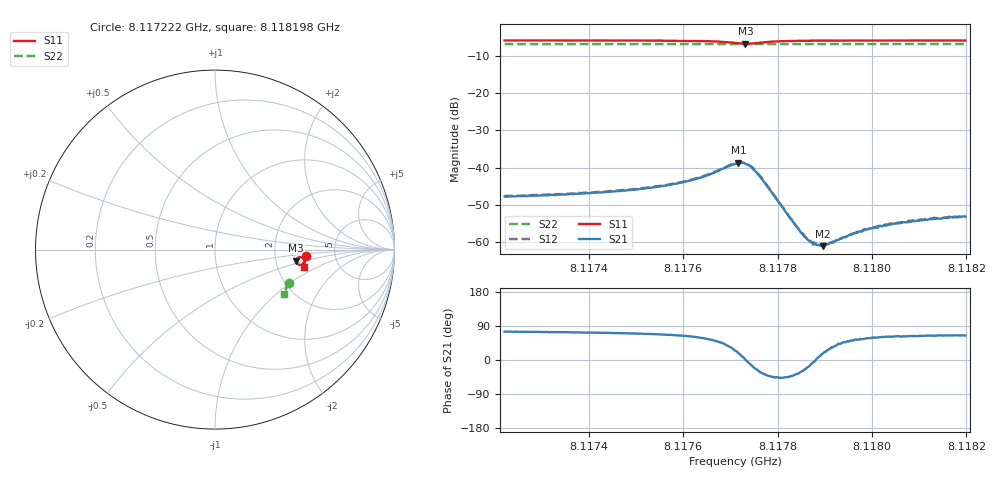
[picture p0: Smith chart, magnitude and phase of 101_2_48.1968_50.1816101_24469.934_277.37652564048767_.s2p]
#  HZ  S  RI  R  50.00
! Rohde & Schwarz Vector Network Analyzer
! Rohde-Schwarz,ZNB20-2Port,1311601062101988,3.16
! Created: UTC 3/20/2024, 11:40:36 AM
! freq[Hz]  re:S11  im:S11  re:S21  im:S21  re:S12  im:S12  re:S22  im:S22
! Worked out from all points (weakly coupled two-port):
!   401 points, 8.117222 GHz to 8.118198 GHz, reference 50 ohm
!   highest |S21| = -38.71 dB at 8.117717 GHz (marker M1); lowest = -61.1 dB at 8.117895 GHz (marker M2)
!   lowest |S11| = -6.8 dB at 8.117732 GHz (marker M3), VSWR 2.68, Z = 130 - j20.5 ohm
!   |S11| at or under -10 dB: nowhere
!   |S22| runs from -6.9 to -6.9 dB; largest |S21 - S12| = 0.00035
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8.117222e9  0.5046 -0.0344  0.00107 0.00394  0.00111 0.00403  0.4119 -0.1842
8.1173855e9  0.5029 -0.0486  0.00134 0.00426  0.00139 0.00433  0.4076 -0.1947
8.1174928e9  0.5008 -0.0588  0.00173 0.00472  0.00183 0.00481  0.4044 -0.2015
8.1175489e9  0.4989 -0.065  0.00212 0.00514  0.00219 0.00519  0.4029 -0.2054
8.1176001e9  0.4959 -0.072  0.00278 0.00569  0.00291 0.00578  0.4012 -0.2086
8.1176392e9  0.4909 -0.0782  0.00389 0.00629  0.00401 0.0064  0.3997 -0.2113
8.1177099e9  0.4608 -0.0811  0.0102 0.00474  0.0103 0.00484  0.3962 -0.2152
8.1177172e9  0.4561 -0.0765  0.011 0.00359  0.0112 0.00356  0.396 -0.2155
8.1177319e9  0.452 -0.0624  0.0113 9.01e-05  0.0114 0.000125  0.3956 -0.2154
8.1177416e9  0.4551 -0.0525  0.0103 -0.00194  0.0104 -0.00208  0.3955 -0.2159
8.1177562e9  0.4657 -0.0433  0.00765 -0.00369  0.0077 -0.00384  0.3956 -0.2163
8.1177709e9  0.4767 -0.0418  0.00518 -0.00387  0.00527 -0.00403  0.3957 -0.2174
8.1178441e9  0.4963 -0.0584  0.00121 -0.00088  0.00125 -0.000883  0.3941 -0.2226
8.1178611e9  0.4973 -0.0616  0.00105 -0.000404  0.00105 -0.000434  0.3938 -0.2237
8.1178733e9  0.4978 -0.0637  0.000986 -0.00014  0.000983 -0.000153  0.3933 -0.2246
8.1178855e9  0.4981 -0.0657  0.000906 9.98e-05  0.000888 9.71e-05  0.3928 -0.2254
8.1178953e9  0.4983 -0.0672  0.000847 0.00025  0.000893 0.000218  0.3926 -0.226
8.1179124e9  0.4985 -0.0694  0.000846 0.000506  0.000846 0.000519  0.392 -0.2272
8.1179904e9  0.4982 -0.0785  0.000799 0.00124  0.00082 0.00126  0.3894 -0.2321
8.1180368e9  0.4978 -0.0831  0.000809 0.00152  0.000871 0.00154  0.3879 -0.235
8.118127e9  0.4967 -0.0913  0.00089 0.00183  0.000928 0.00186  0.3846 -0.2404
8.1181978e9  0.4955 -0.0971  0.000939 0.00197  0.000965 0.002  0.3824 -0.2449
